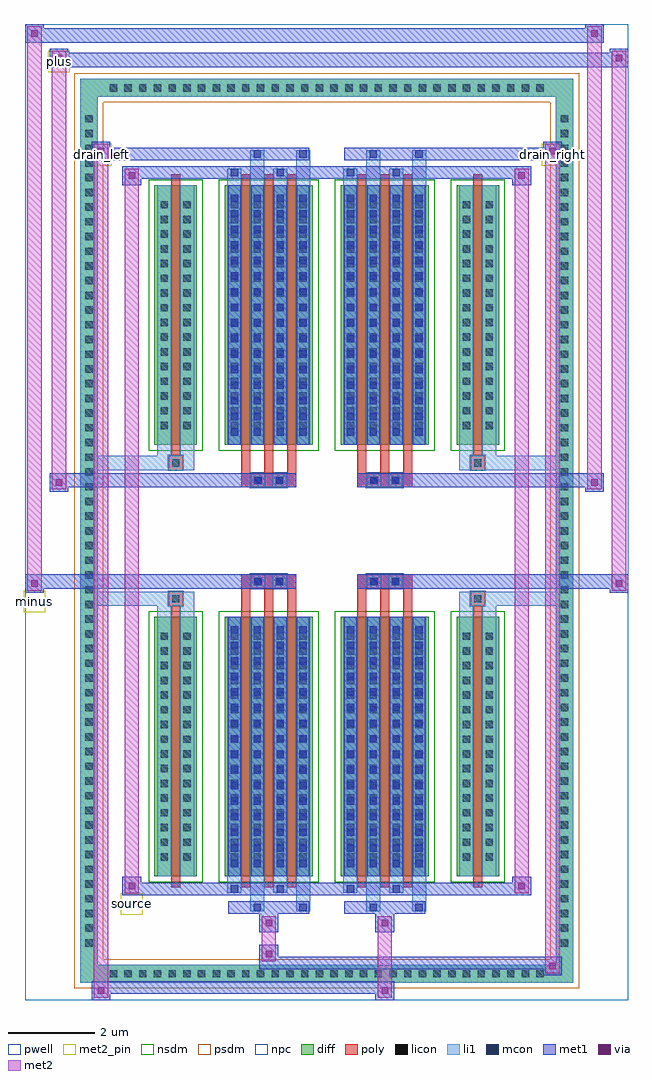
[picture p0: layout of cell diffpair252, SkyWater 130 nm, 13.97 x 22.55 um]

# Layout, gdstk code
import gdstk
lib = gdstk.Library(unit=1e-6, precision=5e-09)
def R(c, l, rs):  # rectangles x0, y0, x1, y1
    for r in rs: c.add(gdstk.rectangle(r[:2], r[2:], *l))
def A(c, l, x, y, w, h, nx, ny, dx, dy):  # array of equal rectangles
    R(c, l, [(x+i*dx, y+j*dy, x+i*dx+w, y+j*dy+h) for i in range(nx) for j in range(ny)])
def P(c, l, *ps):  # polygons
    for p in ps: c.add(gdstk.Polygon(p, *l))
pwell = (64, 44)
diff = (65, 20)
poly = (66, 20)
licon = (66, 44)
li1 = (67, 20)
mcon = (67, 44)
met1 = (68, 20)
via = (68, 44)
met2_pin = (69, 16)
met2 = (69, 20)
nsdm = (93, 44)
psdm = (94, 20)
npc = (95, 20)

diffpair252 = lib.new_cell('diffpair252')
R(diffpair252, pwell, [(-6.97,-10.84,6.97,11.71), (-4.29,-9.03,-0.01,-0.805), (0.01,-9.03,4.29,-0.805), (-4.29,0.805,-0.01,9.03), (0.01,0.805,4.29,9.03)])
A(diffpair252, diff, -5.135, -10.44, 0.41, 0.41, 30, 2, 0.34, 20.47)
A(diffpair252, diff, -5.7, -9.725, 0.41, 0.41, 1, 57, 0, 0.34)
A(diffpair252, diff, 5.29, -9.725, 0.41, 0.41, 1, 57, 0, 0.34)
R(diffpair252, diff, [(-5.135,-10.44,5.135,-10.03), (-5.7,-9.725,-5.29,9.725), (5.29,-9.725,5.7,9.725), (-3.98,-7.985,-3,-1.985), (-2.36,-7.985,-0.32,-1.985), (0.32,-7.985,2.36,-1.985), (3,-7.985,3.98,-1.985), (-3.98,1.985,-3,7.985), (-2.36,1.985,-0.32,7.985), (0.32,1.985,2.36,7.985), (3,1.985,3.98,7.985), (-5.135,10.03,5.135,10.44)])
P(diffpair252, diff, [(5.7,10.44),(-5.7,10.44),(-5.7,-10.03),(-5.29,-10.03),(-5.29,10.03),(5.29,10.03),(5.29,-10.03),(-5.29,-10.03),(-5.7,-10.03),(-5.7,-10.44),(5.7,-10.44)])
A(diffpair252, poly, -1.97, -8.235, 0.2, 6.5, 3, 2, 0.53, 9.97)
A(diffpair252, poly, 0.71, -8.235, 0.2, 6.5, 3, 2, 0.53, 9.97)
A(diffpair252, poly, -1.97, -1.735, 0.2, 0.4, 3, 2, 0.53, 3.07)
A(diffpair252, poly, 0.71, -1.735, 0.2, 0.4, 3, 2, 0.53, 3.07)
R(diffpair252, poly, [(-3.59,-8.235,-3.39,-1.735), (3.39,-8.235,3.59,-1.735), (-3.655,-1.735,-3.325,-1.405), (-3.655,-1.735,-3.325,-1.405), (3.325,-1.735,3.655,-1.405), (3.325,-1.735,3.655,-1.405), (-1.97,-1.335,-0.71,-1.005), (-1.755,-1.335,-1.425,-1.005), (-1.255,-1.335,-0.925,-1.005), (0.71,-1.335,1.97,-1.005), (0.925,-1.335,1.255,-1.005), (1.425,-1.335,1.755,-1.005), (-1.97,1.005,-0.71,1.335), (-1.755,1.005,-1.425,1.335), (-1.255,1.005,-0.925,1.335), (0.71,1.005,1.97,1.335), (0.925,1.005,1.255,1.335), (1.425,1.005,1.755,1.335), (-3.655,1.405,-3.325,1.735), (-3.655,1.405,-3.325,1.735), (3.325,1.405,3.655,1.735), (3.325,1.405,3.655,1.735), (-3.59,1.735,-3.39,8.235), (3.39,1.735,3.59,8.235)])
A(diffpair252, licon, -5.015, -10.32, 0.17, 0.17, 30, 2, 0.34, 20.47)
A(diffpair252, licon, -5.58, -9.605, 0.17, 0.17, 1, 57, 0, 0.34)
A(diffpair252, licon, 5.41, -9.605, 0.17, 0.17, 1, 57, 0, 0.34)
A(diffpair252, licon, -3.84, -7.62, 0.17, 0.17, 1, 16, 0, 0.34)
A(diffpair252, licon, -3.31, -7.62, 0.17, 0.17, 1, 16, 0, 0.34)
A(diffpair252, licon, -2.22, -7.62, 0.17, 0.17, 4, 16, 0.53, 0.34)
A(diffpair252, licon, 0.46, -7.62, 0.17, 0.17, 4, 16, 0.53, 0.34)
A(diffpair252, licon, 3.14, -7.62, 0.17, 0.17, 1, 16, 0, 0.34)
A(diffpair252, licon, 3.67, -7.62, 0.17, 0.17, 1, 16, 0, 0.34)
A(diffpair252, licon, -3.84, 2.35, 0.17, 0.17, 1, 16, 0, 0.34)
A(diffpair252, licon, -3.31, 2.35, 0.17, 0.17, 1, 16, 0, 0.34)
A(diffpair252, licon, -2.22, 2.35, 0.17, 0.17, 4, 16, 0.53, 0.34)
A(diffpair252, licon, 0.46, 2.35, 0.17, 0.17, 4, 16, 0.53, 0.34)
A(diffpair252, licon, 3.14, 2.35, 0.17, 0.17, 1, 16, 0, 0.34)
A(diffpair252, licon, 3.67, 2.35, 0.17, 0.17, 1, 16, 0, 0.34)
R(diffpair252, licon, [(-3.575,-1.655,-3.405,-1.485), (3.405,-1.655,3.575,-1.485), (-1.675,-1.255,-1.505,-1.085), (-1.175,-1.255,-1.005,-1.085), (1.005,-1.255,1.175,-1.085), (1.505,-1.255,1.675,-1.085), (-1.675,1.085,-1.505,1.255), (-1.175,1.085,-1.005,1.255), (1.005,1.085,1.175,1.255), (1.505,1.085,1.675,1.255), (-3.575,1.485,-3.405,1.655), (3.405,1.485,3.575,1.655)])
A(diffpair252, li1, -5.095, -10.4, 0.33, 0.33, 30, 2, 0.34, 20.47)
A(diffpair252, li1, -5.66, -9.685, 0.33, 0.33, 1, 57, 0, 0.34)
A(diffpair252, li1, 5.33, -9.685, 0.33, 0.33, 1, 57, 0, 0.34)
A(diffpair252, li1, -2.3, -7.985, 0.33, 6, 4, 2, 0.53, 9.97)
A(diffpair252, li1, 0.38, -7.985, 0.33, 6, 4, 2, 0.53, 9.97)
A(diffpair252, li1, -2.22, -7.77, 0.17, 0.17, 4, 16, 0.53, 0.36)
A(diffpair252, li1, -2.22, -7.77, 0.17, 5.57, 4, 2, 0.53, 9.97)
A(diffpair252, li1, 0.46, -7.77, 0.17, 0.17, 4, 16, 0.53, 0.36)
A(diffpair252, li1, 0.46, -7.77, 0.17, 5.57, 4, 2, 0.53, 9.97)
A(diffpair252, li1, -3.92, -7.7, 0.33, 0.33, 1, 16, 0, 0.34)
A(diffpair252, li1, -3.39, -7.7, 0.33, 0.33, 1, 16, 0, 0.34)
A(diffpair252, li1, -2.3, -7.7, 0.33, 0.33, 4, 16, 0.53, 0.34)
A(diffpair252, li1, 0.38, -7.7, 0.33, 0.33, 4, 16, 0.53, 0.34)
A(diffpair252, li1, 3.06, -7.7, 0.33, 0.33, 1, 16, 0, 0.34)
A(diffpair252, li1, 3.59, -7.7, 0.33, 0.33, 1, 16, 0, 0.34)
A(diffpair252, li1, -2.22, 2.2, 0.17, 0.17, 4, 16, 0.53, 0.36)
A(diffpair252, li1, 0.46, 2.2, 0.17, 0.17, 4, 16, 0.53, 0.36)
A(diffpair252, li1, -3.92, 2.27, 0.33, 0.33, 1, 16, 0, 0.34)
A(diffpair252, li1, -3.39, 2.27, 0.33, 0.33, 1, 16, 0, 0.34)
A(diffpair252, li1, -2.3, 2.27, 0.33, 0.33, 4, 16, 0.53, 0.34)
A(diffpair252, li1, 0.38, 2.27, 0.33, 0.33, 4, 16, 0.53, 0.34)
A(diffpair252, li1, 3.06, 2.27, 0.33, 0.33, 1, 16, 0, 0.34)
A(diffpair252, li1, 3.59, 2.27, 0.33, 0.33, 1, 16, 0, 0.34)
R(diffpair252, li1, [(-5.7,-10.44,-5.29,-10.03), (-5.7,-10.44,-5.29,-10.03), (-5.29,-10.44,5.29,-10.03), (5.29,-10.44,5.7,-10.03), (5.29,-10.44,5.7,-10.03), (-5.7,-10.03,-5.29,10.03), (5.29,-10.03,5.7,10.03), (-1.77,-8.79,-1.44,-7.985), (-1.69,-8.79,-1.52,-8.62), (-0.71,-8.79,-0.38,-7.985), (-0.63,-8.79,-0.46,-8.62), (0.91,-8.79,1.24,-7.985), (0.99,-8.79,1.16,-8.62), (1.97,-8.79,2.3,-7.985), (2.05,-8.79,2.22,-8.62), (-2.3,-8.36,-1.97,-7.985), (-2.22,-8.36,-2.05,-8.19), (-1.24,-8.36,-0.91,-7.985), (-1.16,-8.36,-0.99,-8.19), (0.38,-8.36,0.71,-7.985), (0.46,-8.36,0.63,-8.19), (1.44,-8.36,1.77,-7.985), (1.52,-8.36,1.69,-8.19), (-3.92,-7.985,-3.59,-1.985), (-3.39,-7.985,-3.06,-1.985), (3.06,-7.985,3.39,-1.985), (3.59,-7.985,3.92,-1.985), (-3.92,-1.985,-3.59,-1.405), (-3.39,-1.985,-3.06,-1.405), (3.06,-1.985,3.39,-1.405), (3.59,-1.985,3.92,-1.405), (-5.7,-1.735,-3.655,-1.405), (-3.92,-1.735,-3.655,-1.405), (-3.655,-1.735,-3.325,-1.405), (-3.325,-1.735,-3.06,-1.405), (3.06,-1.735,3.325,-1.405), (3.325,-1.735,3.655,-1.405), (3.325,-1.735,5.7,-1.405), (3.655,-1.735,3.92,-1.405), (-1.755,-1.335,-1.425,-1.005), (-1.255,-1.335,-0.925,-1.005), (0.925,-1.335,1.255,-1.005), (1.425,-1.335,1.755,-1.005), (-1.755,1.005,-1.425,1.335), (-1.255,1.005,-0.925,1.335), (0.925,1.005,1.255,1.335), (1.425,1.005,1.755,1.335), (-5.7,1.405,-3.655,1.735), (-3.92,1.405,-3.655,1.735), (-3.92,1.405,-3.59,1.985), (-3.655,1.405,-3.325,1.735), (-3.39,1.405,-3.06,1.985), (-3.325,1.405,-3.06,1.735), (3.06,1.405,3.325,1.735), (3.06,1.405,3.39,1.985), (3.325,1.405,3.655,1.735), (3.325,1.405,5.7,1.735), (3.59,1.405,3.92,1.985), (3.655,1.405,3.92,1.735), (-3.92,1.985,-3.59,7.985), (-3.39,1.985,-3.06,7.985), (3.06,1.985,3.39,7.985), (3.59,1.985,3.92,7.985), (-2.3,7.985,-1.97,8.36), (-1.77,7.985,-1.44,8.79), (-1.24,7.985,-0.91,8.36), (-0.71,7.985,-0.38,8.79), (0.38,7.985,0.71,8.36), (0.91,7.985,1.24,8.79), (1.44,7.985,1.77,8.36), (1.97,7.985,2.3,8.79), (-2.22,8.19,-2.05,8.36), (-1.16,8.19,-0.99,8.36), (0.46,8.19,0.63,8.36), (1.52,8.19,1.69,8.36), (-1.69,8.62,-1.52,8.79), (-0.63,8.62,-0.46,8.79), (0.99,8.62,1.16,8.79), (2.05,8.62,2.22,8.79), (-5.7,10.03,-5.29,10.44), (-5.7,10.03,-5.29,10.44), (-5.29,10.03,5.29,10.44), (5.29,10.03,5.7,10.44), (5.29,10.03,5.7,10.44)])
A(diffpair252, mcon, -2.22, -7.77, 0.17, 0.17, 4, 16, 0.53, 0.36)
A(diffpair252, mcon, 0.46, -7.77, 0.17, 0.17, 4, 16, 0.53, 0.36)
A(diffpair252, mcon, -2.22, 2.2, 0.17, 0.17, 4, 16, 0.53, 0.36)
A(diffpair252, mcon, 0.46, 2.2, 0.17, 0.17, 4, 16, 0.53, 0.36)
R(diffpair252, mcon, [(-1.69,-8.79,-1.52,-8.62), (-0.63,-8.79,-0.46,-8.62), (0.99,-8.79,1.16,-8.62), (2.05,-8.79,2.22,-8.62), (-2.22,-8.36,-2.05,-8.19), (-1.16,-8.36,-0.99,-8.19), (0.46,-8.36,0.63,-8.19), (1.52,-8.36,1.69,-8.19), (-1.675,-1.255,-1.505,-1.085), (-1.175,-1.255,-1.005,-1.085), (1.005,-1.255,1.175,-1.085), (1.505,-1.255,1.675,-1.085), (-1.675,1.085,-1.505,1.255), (-1.175,1.085,-1.005,1.255), (1.005,1.085,1.175,1.255), (1.505,1.085,1.675,1.255), (-2.22,8.19,-2.05,8.36), (-1.16,8.19,-0.99,8.36), (0.46,8.19,0.63,8.36), (1.52,8.19,1.69,8.36), (-1.69,8.62,-1.52,8.79), (-0.63,8.62,-0.46,8.79), (0.99,8.62,1.16,8.79), (2.05,8.62,2.22,8.79)])
A(diffpair252, met1, -2.28, -7.985, 0.29, 6, 4, 2, 0.53, 9.97)
A(diffpair252, met1, 0.4, -7.985, 0.29, 6, 4, 2, 0.53, 9.97)
A(diffpair252, met1, -2.28, -7.83, 0.29, 0.29, 4, 16, 0.53, 0.36)
A(diffpair252, met1, 0.4, -7.83, 0.29, 0.29, 4, 16, 0.53, 0.36)
A(diffpair252, met1, -2.28, 2.14, 0.29, 0.29, 4, 16, 0.53, 0.36)
A(diffpair252, met1, 0.4, 2.14, 0.29, 0.29, 4, 16, 0.53, 0.36)
R(diffpair252, met1, [(-5.43,-10.84,-5,-10.41), (1.125,-10.84,1.555,-10.41), (-5.43,-10.7,1.555,-10.41), (5,-10.27,5.43,-9.84), (-1.555,-10.13,5.43,-9.84), (-1.555,-9.99,-1.125,-9.56), (-1.555,-9.28,-1.125,-8.85), (1.125,-9.28,1.555,-8.85), (-2.28,-8.85,-0.4,-8.56), (-1.75,-8.85,-1.46,-8.56), (-0.69,-8.85,-0.4,-8.56), (0.4,-8.85,2.28,-8.56), (0.93,-8.85,1.22,-8.56), (1.99,-8.85,2.28,-8.56), (-4.72,-8.42,-4.29,-7.99), (-4.72,-8.42,-2.28,-8.13), (-2.28,-8.42,-1.99,-8.13), (-2.28,-8.42,-0.4,-8.13), (-1.22,-8.42,-0.93,-8.13), (-0.4,-8.42,0.4,-8.13), (0.4,-8.42,0.69,-8.13), (0.4,-8.42,2.28,-8.13), (1.46,-8.42,1.75,-8.13), (2.28,-8.42,4.72,-8.13), (4.29,-8.42,4.72,-7.99), (-6.97,-1.435,-6.54,-1.005), (6.54,-1.435,6.97,-1.005), (-6.97,-1.335,-0.71,-1.005), (-1.97,-1.335,-0.71,-1.005), (0.71,-1.335,1.97,-1.005), (0.71,-1.335,6.97,-1.005), (-1.735,-1.315,-1.445,-1.025), (-1.235,-1.315,-0.945,-1.025), (0.945,-1.315,1.235,-1.025), (1.445,-1.315,1.735,-1.025), (-6.4,0.905,-5.97,1.335), (5.97,0.905,6.4,1.335), (-6.4,1.005,-1.97,1.335), (-1.97,1.005,-0.71,1.335), (0.71,1.005,1.97,1.335), (1.97,1.005,6.4,1.335), (-1.735,1.025,-1.445,1.315), (-1.235,1.025,-0.945,1.315), (0.945,1.025,1.235,1.315), (1.445,1.025,1.735,1.315), (-4.72,7.99,-4.29,8.42), (4.29,7.99,4.72,8.42), (-4.72,8.13,-2.28,8.42), (-2.28,8.13,-1.99,8.42), (-2.28,8.13,-0.4,8.42), (-1.22,8.13,-0.93,8.42), (-0.4,8.13,0.4,8.42), (0.4,8.13,0.69,8.42), (0.4,8.13,2.28,8.42), (1.46,8.13,1.75,8.42), (2.28,8.13,4.72,8.42), (-5.43,8.56,-5,8.99), (-5.43,8.56,-2.28,8.85), (-2.28,8.56,-0.4,8.85), (-1.75,8.56,-1.46,8.85), (-0.69,8.56,-0.4,8.85), (0.4,8.56,2.28,8.85), (0.93,8.56,1.22,8.85), (1.99,8.56,2.28,8.85), (2.28,8.56,5.43,8.85), (5,8.56,5.43,8.99), (-6.4,10.71,-5.97,11.14), (-6.4,10.71,-4.29,11.04), (-4.29,10.71,4.29,11.04), (4.29,10.71,6.97,11.04), (6.54,10.71,6.97,11.14), (-6.97,11.28,-6.54,11.71), (-6.97,11.28,-4.29,11.61), (-4.29,11.28,4.29,11.61), (4.29,11.28,6.4,11.61), (5.97,11.28,6.4,11.71)])
R(diffpair252, via, [(-5.29,-10.7,-5.14,-10.55), (1.265,-10.7,1.415,-10.55), (5.14,-10.13,5.29,-9.98), (-1.415,-9.85,-1.265,-9.7), (-1.415,-9.14,-1.265,-8.99), (1.265,-9.14,1.415,-8.99), (-4.58,-8.28,-4.43,-8.13), (4.43,-8.28,4.58,-8.13), (-6.83,-1.295,-6.68,-1.145), (6.68,-1.295,6.83,-1.145), (-6.26,1.045,-6.11,1.195), (6.11,1.045,6.26,1.195), (-4.58,8.13,-4.43,8.28), (4.43,8.13,4.58,8.28), (-5.29,8.7,-5.14,8.85), (5.14,8.7,5.29,8.85), (-6.26,10.85,-6.11,11), (6.68,10.85,6.83,11), (-6.83,11.42,-6.68,11.57), (6.11,11.42,6.26,11.57)])
R(diffpair252, met2_pin, [(-4.755,-8.87,-4.255,-8.37), (-7.005,-1.885,-6.505,-1.385), (-5.465,8.44,-4.965,8.94), (4.965,8.44,5.465,8.94), (-6.435,10.59,-5.935,11.09)])
R(diffpair252, met2, [(-5.38,-10.79,-5.05,-10.46), (-5.38,-10.79,-5.05,8.94), (1.175,-10.79,1.505,-10.46), (1.175,-10.46,1.505,-9.23), (5.05,-10.22,5.38,-9.89), (5.05,-10.22,5.38,8.94), (-1.505,-9.94,-1.175,-9.61), (-1.505,-9.61,-1.175,-9.23), (-1.505,-9.23,-1.175,-8.9), (1.175,-9.23,1.505,-8.9), (-4.67,-8.37,-4.34,-8.04), (-4.67,-8.37,-4.34,8.37), (4.34,-8.37,4.67,-8.04), (4.34,-8.37,4.67,8.37), (-6.92,-1.385,-6.59,-1.055), (-6.92,-1.385,-6.59,11.66), (6.59,-1.385,6.92,-1.055), (6.59,-1.385,6.92,11.09), (-6.35,0.955,-6.02,1.285), (-6.35,0.955,-6.02,11.09), (6.02,0.955,6.35,1.285), (6.02,0.955,6.35,11.66), (-4.67,8.04,-4.34,8.37), (4.34,8.04,4.67,8.37), (-5.38,8.61,-5.05,8.94), (5.05,8.61,5.38,8.94), (-6.35,10.76,-6.02,11.09), (6.59,10.76,6.92,11.09), (-6.92,11.33,-6.59,11.66), (6.02,11.33,6.35,11.66)])
P(diffpair252, met2, [(6.92,-1.385),(6.92,-1.385),(6.92,-1.055),(6.92,-1.055)],
  [(6.92,10.76),(6.92,10.76),(6.92,11.09),(6.92,11.09)],
  [(-6.59,-1.385),(-6.59,-1.385),(-6.59,-1.055),(-6.59,-1.055)],
  [(-6.59,11.33),(-6.59,11.33),(-6.59,11.66),(-6.59,11.66)],
  [(6.35,0.955),(6.35,0.955),(6.35,1.285),(6.35,1.285)],
  [(6.35,11.33),(6.35,11.33),(6.35,11.66),(6.35,11.66)],
  [(-6.02,0.955),(-6.02,0.955),(-6.02,1.285),(-6.02,1.285)],
  [(-6.02,10.76),(-6.02,10.76),(-6.02,11.09),(-6.02,11.09)],
  [(-5.05,-10.79),(-5.05,-10.79),(-5.05,-10.46),(-5.05,-10.46)],
  [(-5.05,8.61),(-5.05,8.61),(-5.05,8.94),(-5.05,8.94)],
  [(5.38,-10.22),(5.38,-10.22),(5.38,-9.89),(5.38,-9.89)],
  [(5.38,8.61),(5.38,8.61),(5.38,8.94),(5.38,8.94)],
  [(-4.34,-8.37),(-4.34,-8.37),(-4.34,-8.04),(-4.34,-8.04)],
  [(-4.34,8.04),(-4.34,8.04),(-4.34,8.37),(-4.34,8.37)],
  [(4.67,-8.37),(4.67,-8.37),(4.67,-8.04),(4.67,-8.04)],
  [(4.67,8.04),(4.67,8.04),(4.67,8.37),(4.67,8.37)])
R(diffpair252, nsdm, [(-4.11,-8.115,-2.87,-1.855), (-2.49,-8.115,-0.19,-1.855), (0.19,-8.115,2.49,-1.855), (2.87,-8.115,4.11,-1.855), (-4.11,1.855,-2.87,8.115), (-2.49,1.855,-0.19,8.115), (0.19,1.855,2.49,8.115), (2.87,1.855,4.11,8.115)])
P(diffpair252, psdm, [(5.83,10.57),(-5.83,10.57),(-5.83,-9.9),(-5.16,-9.9),(-5.16,9.9),(5.16,9.9),(5.16,-9.9),(-5.16,-9.9),(-5.83,-9.9),(-5.83,-10.57),(5.83,-10.57)])
R(diffpair252, npc, [(-3.675,-1.755,-3.305,-1.385), (3.305,-1.755,3.675,-1.385), (-1.775,-1.355,-1.405,-0.985), (-1.775,-1.355,-0.905,-0.985), (-1.775,-1.355,-0.905,-0.985), (-1.275,-1.355,-0.905,-0.985), (0.905,-1.355,1.275,-0.985), (0.905,-1.355,1.775,-0.985), (0.905,-1.355,1.775,-0.985), (1.405,-1.355,1.775,-0.985), (-1.775,0.985,-1.405,1.355), (-1.775,0.985,-0.905,1.355), (-1.775,0.985,-0.905,1.355), (-1.275,0.985,-0.905,1.355), (0.905,0.985,1.275,1.355), (0.905,0.985,1.775,1.355), (0.905,0.985,1.775,1.355), (1.405,0.985,1.775,1.355), (-3.675,1.385,-3.305,1.755), (3.305,1.385,3.675,1.755)])
diffpair252.add(gdstk.Label('minus', (-6.755,-1.635), layer=69, texttype=5))
diffpair252.add(gdstk.Label('drain_right', (5.215,8.69), layer=69, texttype=5))
diffpair252.add(gdstk.Label('drain_left', (-5.215,8.69), layer=69, texttype=5))
diffpair252.add(gdstk.Label('source', (-4.505,-8.62), layer=69, texttype=5))
diffpair252.add(gdstk.Label('plus', (-6.185,10.84), layer=69, texttype=5))

lib.write_gds('diffpair252.gds')
